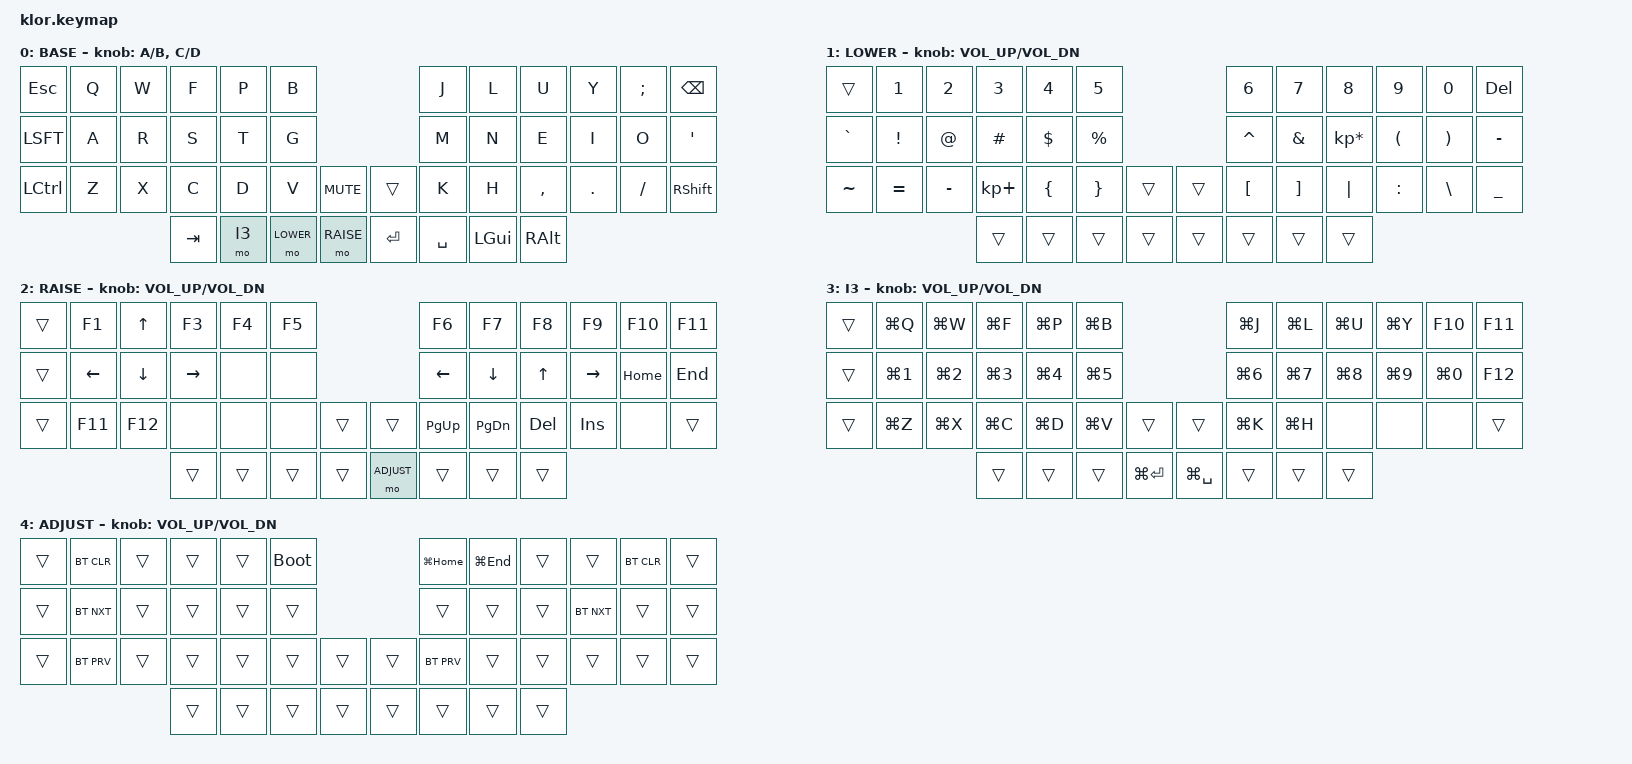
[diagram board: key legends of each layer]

//                               █         █    █            ▄▄▄▀▀▀▀▀▀▄▄▄        █▀▀▀▀▀▀▀▀▀▀█
//                               █        █     █          ▄▀            ▀▄      █          █
//                               █       █      █        ▄▀                ▀▄    █          █
//                               █      █       █        █                  █    █          █
//                               █     █        █       █                    █   █          █
//                               █    █         █       █                    █   █▄▄▄▄▄▄▄▄▄▄█
//                               █   █ █        █       █                    █   █      █
//                               █  █   █       █        █                  █    █       █
//                               █ █     █      █        ▀▄                ▄▀    █        █
//                               ██       █     █          ▀▄            ▄▀      █         █
//                               █         █    █▄▄▄▄▄▄▄▄    ▀▀▀▄▄▄▄▄▄▀▀▀        █          █
//
// ▄▄▄▄▄▄▄▄▄▄▄▄▄▄▄▄▄▄▄▄▄▄▄▄▄▄▄▄▄▄▄▄▄▄▄▄▄▄▄▄▄▄▄▄▄▄▄▄▄▄▄▄▄▄▄▄▄▄▄▄▄▄▄▄▄▄▄▄▄▄▄▄▄▄▄▄▄▄▄▄▄▄▄▄▄▄▄▄▄▄▄▄▄▄▄▄▄▄▄▄▄▄▄▄▄▄▄▄▄▄▄▄▄▄▄▄▄▄▄▄▄▄▄▄▄
       
#include <behaviors.dtsi>
#include <dt-bindings/zmk/keys.h>
#include <dt-bindings/zmk/bt.h>
#include <dt-bindings/zmk/outputs.h>
#include <dt-bindings/zmk/ext_power.h>

#define BASE   0
#define LOWER  1
#define RAISE  2
#define I3     3
#define ADJUST 4

#define KPMUL KP_MULTIPLY
#define KPPLU KP_PLUS

#define LGS(k) LG(LS(k))

    &mt {
            tapping-term-ms = <400>;
        };



/ {
//    behaviors {
//        hm: homerow_mods {
//            compatible = "zmk,behavior-hold-tap";
//            label = "HOMEROW_MODS";
//            #binding-cells = <2>;
//            tapping-term-ms = <150>;
//            quick_tap_ms = <0>;
//            flavor = "tap-preferred";
//            bindings = <&kp>, <&kp>;
//        };
//
//    };
//
//     combos {
//            compatible = "zmk,combos";
//            combo_esc {
//                timeout-ms = <50>;
//                key-positions = <0 1>;
//                bindings = <&kp ESC>;
//            };
//    };

        keymap {
                compatible = "zmk,keymap";
// ▄▄▄▄▄▄▄▄▄▄▄▄▄▄▄▄▄▄▄▄▄▄▄▄▄▄▄▄▄▄▄▄▄▄▄▄▄▄▄▄▄▄▄▄▄▄▄▄▄▄▄▄▄▄▄▄▄▄▄▄▄▄▄▄▄▄▄▄▄▄▄▄▄▄▄▄▄▄▄▄▄▄▄▄▄▄▄▄▄▄▄▄▄▄▄▄▄▄▄▄▄▄▄▄▄▄▄▄▄▄▄▄▄▄▄▄▄▄▄▄▄▄▄▄▄▄▄▄▄▄▄▄▄▄▄▄▄▄▄▄▄▄


                base_layer {
// ┌───────────────────────────────────────────────────────────┐
label= "BASE"                                                  ;
// └───────────────────────────────────────────────────────────┘
/*           ┌─────────┬─────────┬─────────┬─────────┬─────────┐                    ┌─────────┬─────────┬─────────┬─────────┬─────────┐
             │    Q    │    W    │    E    │    R    │    T    │                    │    Y    │    U    │    I    │    O    │    P    │   
   ┌─────────┼─────────┼─────────┼─────────┼─────────┼─────────┤                    ├─────────┼─────────┼─────────┼─────────┼─────────┼─────────┐
   │   TAB   │    A    │    S    │    D    │    F    │    G    │                    │    H    │    J    │    K    │    L    │    ;    │    '    │
   ├─────────┼─────────┼─────────┼─────────┼─────────┼─────────┤╭────────╮╭────────╮├─────────┼─────────┼─────────┼─────────┼─────────┼─────────┤
   │   CTRL  │    Z    │    X    │    C    │    V    │    B    ││  MUTE  ││PLY/PSE ││    N    │    M    │    ,    │    .    │    /    │  SHIFT  │
   └─────────┴─────────┴─────────┼─────────┼─────────┼─────────┼╰────────╯╰────────╯┼─────────┼─────────┼─────────┼─────────┴─────────┴─────────┘
                                 │   DEL   │   GUI   │  LOWER  │  RAISE  ││  ENTER  │  SPACE  │   ESC   │  RALT   │  
                                 └─────────┴─────────┴─────────┴─────────┘└─────────┴─────────┴─────────┴─────────┘ */ 
 bindings = <
 //╷         ╷         ╷         ╷         ╷         ╷         ╷         ╷       ╷         ╷         ╷         ╷         ╷         ╷         ╷         ╷
    &kp ESC       &kp Q     &kp W     &kp F     &kp P     &kp B                            &kp J     &kp L     &kp U     &kp Y     &kp SEMI  &kp BSPC
    &kp LSFT      &kp A     &kp R     &kp S     &kp T     &kp G                            &kp M     &kp N     &kp E     &kp I     &kp O     &kp SQT
    &kp LCTRL     &kp Z     &kp X     &kp C     &kp D     &kp V     &kp C_MUTE   &trans    &kp K     &kp H     &kp COMMA &kp DOT   &kp FSLH  &kp RSHFT
                                      &kp TAB   &mo I3    &mo LOWER &mo RAISE    &kp ENTER &kp SPACE &kp LGUI  &kp RALT    
                        >;
            sensor-bindings = <&inc_dec_kp A B &inc_dec_kp C D>;
                };

// ▄▄▄▄▄▄▄▄▄▄▄▄▄▄▄▄▄▄▄▄▄▄▄▄▄▄▄▄▄▄▄▄▄▄▄▄▄▄▄▄▄▄▄▄▄▄▄▄▄▄▄▄▄▄▄▄▄▄▄▄▄▄▄▄▄▄▄▄▄▄▄▄▄▄▄▄▄▄▄▄▄▄▄▄▄▄▄▄▄▄▄▄▄▄▄▄▄▄▄▄▄▄▄▄▄▄▄▄▄▄▄▄▄▄▄▄▄▄▄▄▄▄▄▄▄▄▄▄▄▄▄▄▄▄▄▄▄▄▄▄▄▄


                lower_layer {
// ┌───────────────────────────────────────────────────────────┐
label= "LOWER"                                                 ;
// └───────────────────────────────────────────────────────────┘
/*           ┌─────────┬─────────┬─────────┬─────────┬─────────┐                    ┌─────────┬─────────┬─────────┬─────────┬─────────┐
             │         │         │    UP   │         │    {    │                    │    }    │    7    │    8    │    9    │    +    │
   ┌─────────┼─────────┼─────────┼─────────┼─────────┼─────────┤                    ├─────────┼─────────┼─────────┼─────────┼─────────┼─────────┐
   │         │         │   LEFT  │  DOWN   │  RIGHT  │    [    │                    │    ]    │    4    │    5    │    6    │    -    │         │
   ├─────────┼─────────┼─────────┼─────────┼─────────┼─────────┤╭────────╮╭────────╮├─────────┼─────────┼─────────┼─────────┼─────────┼─────────┤
   │         │         │   P UP  │ C LOCK  │ P DOWN  │    (    ││        ││        ││    )    │    1    │    2    │    3    │    *    │         │
   └─────────┴─────────┴─────────┼─────────┼─────────┼─────────┼╰────────╯╰────────╯┼─────────┼─────────┼─────────┼─────────┴─────────┴─────────┘
                                 │         │         │         │         ││         │         │    0    │         │  
                                 └─────────┴─────────┴─────────┴─────────┘└─────────┴─────────┴─────────┴─────────┘ */ 
 bindings = <
 //╷         ╷         ╷         ╷         ╷         ╷         ╷         ╷╷         ╷         ╷         ╷         ╷         ╷         ╷         ╷
    &trans    &kp N1    &kp N2    &kp N3    &kp N4    &kp N5                         &kp N6    &kp N7    &kp N8    &kp N9    &kp N0    &kp DEL
    &kp GRAVE &kp EXCL  &kp AT    &kp HASH  &kp DLLR  &kp PRCNT                      &kp CARET &kp AMPS  &kp KPMUL &kp LPAR  &kp RPAR  &kp MINUS
    &kp TILDE &kp EQUAL &kp MINUS &kp KPPLU &kp LBRC  &kp RBRC  &trans     &trans    &kp LBKT  &kp RBKT  &kp PIPE  &kp COLON &kp BSLH  &kp UNDER 
                                  &trans    &trans    &trans    &trans     &trans    &trans     &trans    &trans  
                        >;
            sensor-bindings = <&inc_dec_kp C_VOL_UP C_VOL_DN>;
                };

// ▄▄▄▄▄▄▄▄▄▄▄▄▄▄▄▄▄▄▄▄▄▄▄▄▄▄▄▄▄▄▄▄▄▄▄▄▄▄▄▄▄▄▄▄▄▄▄▄▄▄▄▄▄▄▄▄▄▄▄▄▄▄▄▄▄▄▄▄▄▄▄▄▄▄▄▄▄▄▄▄▄▄▄▄▄▄▄▄▄▄▄▄▄▄▄▄▄▄▄▄▄▄▄▄▄▄▄▄▄▄▄▄▄▄▄▄▄▄▄▄▄▄▄▄▄


                raise_layer {
// ┌───────────────────────────────────────────────────────────┐
label= "RAISE"                                                 ;
// └───────────────────────────────────────────────────────────┘
/*           ┌─────────┬─────────┬─────────┬─────────┬─────────┐                    ┌─────────┬─────────┬─────────┬─────────┬─────────┐
             │         │         │         │         │         │                    │         │         │    Ü    │         │         │
   ┌─────────┼─────────┼─────────┼─────────┼─────────┼─────────┤                    ├─────────┼─────────┼─────────┼─────────┼─────────┼─────────┐
   │    Ä    │         │    ß    │         │         │         │                    │         │         │         │         │    Ö    │         │
   ├─────────┼─────────┼─────────┼─────────┼─────────┼─────────┤╭────────╮╭────────╮├─────────┼─────────┼─────────┼─────────┼─────────┼─────────┤
   │         │         │         │         │         │         ││        ││        ││         │         │         │         │         │         │
   └─────────┴─────────┴─────────┼─────────┼─────────┼─────────┼╰────────╯╰────────╯┼─────────┼─────────┼─────────┼─────────┴─────────┴─────────┘
                                 │ ADJUST  │         │         │         ││         │         │         │         │  
                                 └─────────┴─────────┴─────────┴─────────┘└─────────┴─────────┴─────────┴─────────┘ */ 
 bindings = <
 //╷         ╷         ╷         ╷         ╷         ╷         ╷         ╷╷         ╷         ╷         ╷         ╷         ╷         ╷         ╷
    &trans    &kp F1      &kp UP      &kp F3      &kp F4      &kp F5                             &kp F6      &kp F7      &kp F8      &kp F9      &kp F10    &kp F11
    &trans    &kp LEFT    &kp DOWN    &kp RIGHT   &none       &none                              &kp LEFT    &kp DOWN    &kp UP      &kp RIGHT   &kp HOME   &kp END
    &trans    &kp F11     &kp F12     &none       &none       &none       &trans     &trans      &kp PG_UP   &kp PG_DN   &kp DEL     &kp INS     &none       &trans
                                      &trans      &trans      &trans      &trans     &mo ADJUST  &trans      &trans      &trans  
                        >;
                sensor-bindings = <&inc_dec_kp C_VOL_UP C_VOL_DN>;
                };

// ▄▄▄▄▄▄▄▄▄▄▄▄▄▄▄▄▄▄▄▄▄▄▄▄▄▄▄▄▄▄▄▄▄▄▄▄▄▄▄▄▄▄▄▄▄▄▄▄▄▄▄▄▄▄▄▄▄▄▄▄▄▄▄▄▄▄▄▄▄▄▄▄▄▄▄▄▄▄▄▄▄▄▄▄▄▄▄▄▄▄▄▄▄▄▄▄▄▄▄▄▄▄▄▄▄▄▄▄▄▄▄▄▄▄▄▄▄▄▄▄▄▄▄▄▄

    i3_layer {
// ┌───────────────────────────────────────────────────────────┐
label= "I3"                                                 ;
// └───────────────────────────────────────────────────────────┘
/*           ┌─────────┬─────────┬─────────┬─────────┬─────────┐                    ┌─────────┬─────────┬─────────┬─────────┬─────────┐
             │         │         │         │         │         │                    │         │         │    Ü    │         │         │
   ┌─────────┼─────────┼─────────┼─────────┼─────────┼─────────┤                    ├─────────┼─────────┼─────────┼─────────┼─────────┼─────────┐
   │    Ä    │         │    ß    │         │         │         │                    │         │         │         │         │    Ö    │         │
   ├─────────┼─────────┼─────────┼─────────┼─────────┼─────────┤╭────────╮╭────────╮├─────────┼─────────┼─────────┼─────────┼─────────┼─────────┤
   │         │         │         │         │         │         ││        ││        ││         │         │         │         │         │         │
   └─────────┴─────────┴─────────┼─────────┼─────────┼─────────┼╰────────╯╰────────╯┼─────────┼─────────┼─────────┼─────────┴─────────┴─────────┘
                                 │ ADJUST  │         │         │         ││         │         │         │         │  
                                 └─────────┴─────────┴─────────┴─────────┘└─────────┴─────────┴─────────┴─────────┘ */ 
 bindings = <
 //╷         ╷         ╷         ╷         ╷         ╷         ╷         ╷╷         ╷         ╷         ╷         ╷         ╷         ╷         ╷
    &trans    &kp LG(Q)   &kp LG(W)   &kp LG(F)   &kp LG(P)   &kp LG(B)                                &kp LG(J)   &kp LG(L)   &kp LG(U)   &kp LG(Y)   &kp F10    &kp F11
    &trans    &kp LG(N1)  &kp LG(N2)  &kp LG(N3)  &kp LG(N4)  &kp LG(N5)                               &kp LG(N6)  &kp LG(N7)  &kp LG(N8)  &kp LG(N9)  &kp LG(N0) &kp F12
    &trans    &kp LG(Z)   &kp LG(X)   &kp LG(C)   &kp LG(D)   &kp LG(V)   &trans        &trans         &kp LG(K)   &kp LG(H)   &none       &none       &none      &trans
                                      &trans      &trans      &trans      &kp LG(ENTER) &kp LG(SPACE)  &trans      &trans      &trans  
                        >;
                sensor-bindings = <&inc_dec_kp C_VOL_UP C_VOL_DN>;
                };

// ▄▄▄▄▄▄▄▄▄▄▄▄▄▄▄▄▄▄▄▄▄▄▄▄▄▄▄▄▄▄▄▄▄▄▄▄▄▄▄▄▄▄▄▄▄▄▄▄▄▄▄▄▄▄▄▄▄▄▄▄▄▄▄▄▄▄▄▄▄▄▄▄▄▄▄▄▄▄▄▄▄▄▄▄▄▄▄▄▄▄▄▄▄▄▄▄▄▄▄▄▄▄▄▄▄▄▄▄▄▄▄▄▄▄▄▄▄▄▄▄▄▄▄▄▄



                adjust_layer {
// ┌───────────────────────────────────────────────────────────┐
label= "ADJUST"                                                ;
// └───────────────────────────────────────────────────────────┘
/*           ┌─────────┬─────────┬─────────┬─────────┬─────────┐                    ┌─────────┬─────────┬─────────┬─────────┬─────────┐
             │         │         │         │         │         │                    │         │         │         │         │         │
   ┌─────────┼─────────┼─────────┼─────────┼─────────┼─────────┤                    ├─────────┼─────────┼─────────┼─────────┼─────────┼─────────┐
   │         │         │         │         │         │         │                    │         │         │         │         │         │         │
   ├─────────┼─────────┼─────────┼─────────┼─────────┼─────────┤╭────────╮╭────────╮├─────────┼─────────┼─────────┼─────────┼─────────┼─────────┤
   │         │         │         │         │         │         ││        ││        ││         │         │         │         │         │         │
   └─────────┴─────────┴─────────┼─────────┼─────────┼─────────┼╰────────╯╰────────╯┼─────────┼─────────┼─────────┼─────────┴─────────┴─────────┘
                                 │         │         │         │         ││         │         │         │         │  
                                 └─────────┴─────────┴─────────┴─────────┘└─────────┴─────────┴─────────┴─────────┘ */ 
 bindings = <
 //╷         ╷         ╷         ╷         ╷         ╷         ╷         ╷╷         ╷         ╷         ╷         ╷         ╷         ╷         ╷
    &trans   &bt BT_CLR &trans    &trans    &trans    &bootloader                    &kp LG(HOME)  &kp LG(END) &trans    &trans     &bt BT_CLR &trans
    &trans   &bt BT_NXT &trans    &trans    &trans    &trans                         &trans        &trans      &trans    &bt BT_NXT &trans     &trans 
    &trans   &bt BT_PRV &trans    &trans    &trans    &trans    &trans     &trans    &bt BT_PRV    &trans      &trans    &trans     &trans     &trans    
                                  &trans    &trans    &trans    &trans     &trans    &trans        &trans      &trans    
                        >;
            sensor-bindings = <&inc_dec_kp C_VOL_UP C_VOL_DN>;
                };
        };
};
